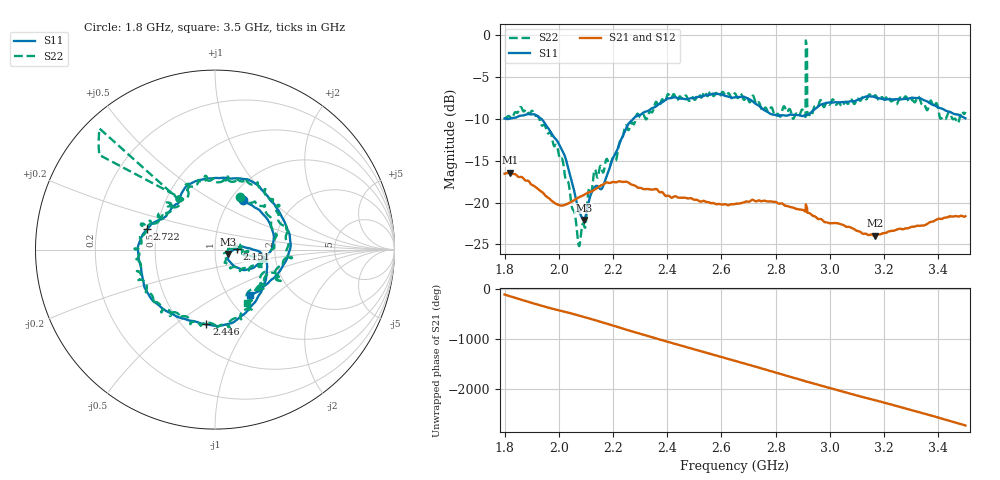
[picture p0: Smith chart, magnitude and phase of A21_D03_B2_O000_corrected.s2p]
! Created with skrf 1.9.0 (http://scikit-rf.org).
# Hz S RI R 50.0
!freq ReS11 ImS11 ReS21 ImS21 ReS12 ImS12 ReS22 ImS22
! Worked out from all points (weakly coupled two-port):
!   1601 points, 1.8 GHz to 3.5 GHz, reference 50 ohm
!   highest |S21| = -16.44 dB at 1.82 GHz (marker M1); lowest = -24.0 dB at 3.165 GHz (marker M2)
!   lowest |S11| = -22.1 dB at 2.092 GHz (marker M3), VSWR 1.17, Z = 58.1 - j2.79 ohm
!   |S11| at or under -10 dB: 1.80637 GHz to 1.814823 GHz (8.453 MHz wide, 0.467 % of centre); 1.936 GHz to 2.274 GHz (338.2 MHz wide, 16.1 % of centre)
!   |S22| runs from -25.2 to -0.6 dB; largest |S21 - S12| = 0.0025
!   S11 on the Smith chart (normalised r, x): 1.8 GHz: 1.13, +0.70; 2.151 GHz: 1.28, +0.00; 2.446 GHz: 0.65, -0.66; 2.722 GHz: 0.44, +0.12; 3.5 GHz: 1.26, -0.71
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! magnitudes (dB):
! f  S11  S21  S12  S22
! 1.8 GHz  -10.0  -16.5  -16.5  -9.8
! 1.82 GHz  -10.0  -16.4  -16.5  -9.8
! 1.903 GHz  -9.4  -17.9  -17.9  -9.0
! 1.968 GHz  -11.4  -19.6  -19.6  -11.6
! 2.015 GHz  -13.9  -20.4  -20.4  -15.0
! 2.072 GHz  -20.7  -19.4  -19.4  -24.9
! 2.084 GHz  -21.7  -19.2  -19.2  -23.2
! 2.092 GHz  -22.1  -19.1  -19.1  -22.6
! 2.113 GHz  -19.5  -18.8  -18.8  -18.3
! 2.151 GHz  -18.3  -18.0  -18.1  -15.9
! 2.259 GHz  -10.5  -17.7  -17.7  -11.3
! 2.367 GHz  -8.3  -18.6  -18.6  -8.5
! 2.446 GHz  -7.6  -19.4  -19.4  -7.3
! 2.65 GHz  -7.4  -20.2  -20.1  -6.9
! 2.722 GHz  -8.1  -19.8  -19.7  -7.7
! 2.868 GHz  -9.5  -20.6  -20.6  -9.9
! 2.902 GHz  -9.6  -20.9  -20.9  -9.1
! 2.907 GHz  -9.6  -21.0  -21.0  -9.6
! 2.934 GHz  -9.1  -21.5  -21.5  -9.5
! 3.165 GHz  -7.4  -24.0  -23.9  -7.2
! 3.217 GHz  -7.6  -23.5  -23.4  -7.4
! 3.5 GHz  -9.9  -21.6  -21.6  -9.2
